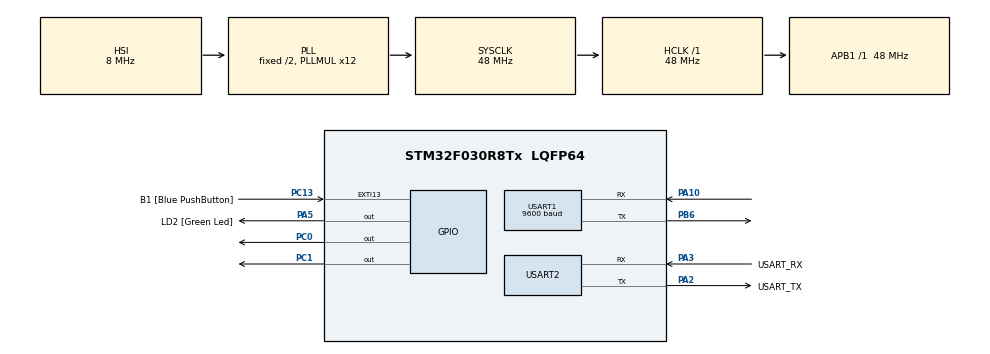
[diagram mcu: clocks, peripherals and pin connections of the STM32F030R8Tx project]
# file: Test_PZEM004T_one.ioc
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Mcu.Family=STM32F0
Mcu.Name=STM32F030R8Tx
Mcu.Package=LQFP64
PA10.GPIO_Speed=GPIO_SPEED_FREQ_LOW
PA10.Mode=Asynchronous
PA10.Signal=USART1_RX
PA13.GPIO_Label=TMS
PA13.Mode=Serial_Wire
PA13.Signal=SYS_SWDIO
PA14.GPIO_Label=TCK
PA14.Mode=Serial_Wire
PA14.Signal=SYS_SWCLK
PA2.GPIO_Label=USART_TX
PA2.GPIO_Mode=GPIO_MODE_AF_PP
PA2.GPIO_PuPd=GPIO_NOPULL
PA2.GPIO_Speed=GPIO_SPEED_FREQ_LOW
PA2.Mode=Asynchronous
PA2.Signal=USART2_TX
PA3.GPIO_Label=USART_RX
PA3.GPIO_Mode=GPIO_MODE_AF_PP
PA3.GPIO_PuPd=GPIO_NOPULL
PA3.GPIO_Speed=GPIO_SPEED_FREQ_LOW
PA3.Mode=Asynchronous
PA3.Signal=USART2_RX
PA5.GPIO_Label=LD2 [Green Led]
PA5.GPIO_Mode=GPIO_MODE_OUTPUT_PP
PA5.GPIO_PuPd=GPIO_NOPULL
PA5.GPIO_Speed=GPIO_SPEED_FREQ_LOW
PA5.Signal=GPIO_Output
PB6.GPIO_FM6=__NULL
PB6.GPIO_Speed=GPIO_SPEED_FREQ_LOW
PB6.Mode=Asynchronous
PB6.Signal=USART1_TX
PC0.GPIO_ModeDefaultOutputPP=GPIO_MODE_OUTPUT_PP
PC0.GPIO_PuPd=GPIO_PULLDOWN
PC0.Signal=GPIO_Output
PC1.GPIO_PuPd=GPIO_PULLDOWN
PC1.Signal=GPIO_Output
PC13.GPIO_Label=B1 [Blue PushButton]
PC13.GPIO_ModeDefaultEXTI=GPIO_MODE_IT_FALLING
PC13.Signal=GPXTI13
PC14-OSC32_IN.Mode=LSE-External-Oscillator
PC14-OSC32_IN.Signal=RCC_OSC32_IN
PC15-OSC32_OUT.Mode=LSE-External-Oscillator
PC15-OSC32_OUT.Signal=RCC_OSC32_OUT
PF0-OSC_IN.Mode=HSE-External-Clock-Source
PF0-OSC_IN.Signal=RCC_OSC_IN
PF1-OSC_OUT.Signal=RCC_OSC_OUT
ProjectManager.HeapSize=0x200
ProjectManager.StackSize=0x400
ProjectManager.TargetToolchain=STM32CubeIDE
RCC.AHBFreq_Value=48000000
RCC.APB1Freq_Value=48000000
RCC.APB1TimFreq_Value=48000000
RCC.HCLKFreq_Value=48000000
RCC.PLLMUL=RCC_PLL_MUL12
RCC.SYSCLKFreq_VALUE=48000000
RCC.SYSCLKSource=RCC_SYSCLKSOURCE_PLLCLK
USART1.BaudRate=9600
USART1.VirtualMode-Asynchronous=VM_ASYNC
USART2.VirtualMode-Asynchronous=VM_ASYNC
board=NUCLEO-F030R8

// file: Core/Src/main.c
/* USER CODE BEGIN Header */
/**
  ******************************************************************************
  * @file           : main.c
  * @brief          : Main program body
  ******************************************************************************
  * @attention
  *
  * Copyright (c) 2022 STMicroelectronics.
  * All rights reserved.
  *
  * This software is licensed under terms that can be found in the LICENSE file
  * in the root directory of this software component.
  * If no LICENSE file comes with this software, it is provided AS-IS.
  *
  ******************************************************************************
  */
/* USER CODE END Header */
#include "main.h"

/* USER CODE BEGIN Includes */
#include <string.h>
#include <stdio.h>
/* USER CODE END Includes */

/* USER CODE BEGIN PD */
#define RESET_CPU 			SCB->AIRCR = 0x05FA0004
#define UART_PZEM 			&huart1
#define UART_MQTT			&huart2
#define GPIO_PORT_MUX_A		GPIOC
#define GPIO_PIN_MUX_A		GPIO_PIN_0
#define GPIO_PORT_MUX_B		GPIOC
#define GPIO_PIN_MUX_B		GPIO_PIN_1
/* USER CODE END PD */

UART_HandleTypeDef huart1;
UART_HandleTypeDef huart2;

/* USER CODE BEGIN PV */
uint8_t str[150]={0};

uint8_t V[4][3] =  {{0}};
uint8_t A[4][3] =  {{0}};
uint8_t W[4][3] =  {{0}};
uint8_t Wh[4][3] = {{0}};

uint8_t buf[7] = {0};

uint8_t sendVoltage[7] = 	{0xB0,0xC0,0xA8,0x01,0x01,0x00,0x1A};	// Read the current voltage
uint8_t sendCurrent[7] = 	{0xB1,0xC0,0xA8,0x01,0x01,0x00,0x1B};	// Read the current current
uint8_t sendPower[7] = 		{0xB2,0xC0,0xA8,0x01,0x01,0x00,0x1C};	// Read the current power
uint8_t sendEnergy[7] = 	{0xB3,0xC0,0xA8,0x01,0x01,0x00,0x1D};	// Read the energy

/* USER CODE END PV */

void SystemClock_Config(void);
static void MX_GPIO_Init(void);
static void MX_USART1_UART_Init(void);
static void MX_USART2_UART_Init(void);

/* USER CODE BEGIN 0 */
void cntUART(uint8_t i);
/* USER CODE END 0 */

int main(void)
{

  /* MCU Configuration--------------------------------------------------------*/

  /* Reset of all peripherals, Initializes the Flash interface and the Systick. */
  HAL_Init();

  /* Configure the system clock */
  SystemClock_Config();

  /* Initialize all configured peripherals */
  MX_GPIO_Init();
  MX_USART1_UART_Init();
  MX_USART2_UART_Init();

  /* Infinite loop */
  /* USER CODE BEGIN WHILE */
  while (1)
  {
	  // Очистка переменных перед опросом
	  memset(V,0, sizeof(V));	memset(A,0, sizeof(A));		memset(W,0, sizeof(W));		memset(Wh,0, sizeof(Wh));
	  // Запрашиваем данные
	  // Напряжение
	  for(uint8_t i = 0; i < 4; i++){
		  HAL_UART_Abort(UART_PZEM);
		  cntUART(i);
		  if(HAL_UART_Transmit(UART_PZEM, (uint8_t *)sendVoltage, 7, 100) == HAL_OK){
			  if(HAL_UART_Receive(UART_PZEM, (uint8_t *)buf, 7, 100) == HAL_OK){
				  if(buf[1]+buf[2] == 160){
					  RESET_CPU; // Если сбился порядок ресет контроллера
				  }else{
					  if(buf[0] == 0xA0){ V[i][0] = buf[1]; V[i][1] = buf[2]; V[i][2] = buf[3]; }
				  }
			  }
		  }
		  memset(buf,0,7);
		  HAL_Delay(100);
	  }
	  HAL_Delay(1000);
	  // Ток
	  for(uint8_t i = 0; i < 4; i++){
		  HAL_UART_Abort(UART_PZEM);
		  cntUART(i);
		  if(HAL_UART_Transmit(UART_PZEM, (uint8_t *)sendCurrent, 7, 100) == HAL_OK){
			  if(HAL_UART_Receive(UART_PZEM, (uint8_t *)buf, 7, 100) == HAL_OK){
				  if(buf[0] == 0xA1){ A[i][0] = buf[2]; A[i][1] = buf[3]; }
			  }
		  }
		  memset(buf,0,7);
		  HAL_Delay(5);
	  }
	  HAL_Delay(1000);
	  // Мощьность
	  for(uint8_t i = 0; i < 4; i++){
		  HAL_UART_Abort(UART_PZEM);
		  cntUART(i);
		  if(HAL_UART_Transmit(UART_PZEM, (uint8_t *)sendPower, 7, 100) == HAL_OK){
			  if(HAL_UART_Receive(UART_PZEM, (uint8_t *)buf, 7, 100) == HAL_OK){
				if(buf[0] == 0xA2){ W[i][0] = buf[1]; W[i][1] = buf[2]; }
			  }
		  }
		  memset(buf,0,7);
		  HAL_Delay(5);
	  }
  	  HAL_Delay(1000);
	  // Потреб. мощьность
	  for(uint8_t i = 0; i < 4; i++){
	  		  HAL_UART_Abort(UART_PZEM);
	  		  cntUART(i);
	  			  if(HAL_UART_Transmit(UART_PZEM, (uint8_t *)sendEnergy, 7, 100) == HAL_OK){
	  				  if(HAL_UART_Receive(UART_PZEM, (uint8_t *)buf, 7, 100) == HAL_OK){
	  					  if(buf[0] == 0xA3){ Wh[i][0] = buf[1]; Wh[i][1] = buf[2]; Wh[i][2] = buf[3]; }
	  				  }
	  			  }
	  		  memset(buf,0,7);
	  		  HAL_Delay(5);
	  	  }

  // Формируем данные в UART
	  sprintf(str, "PZEM-004T value: \r\n"
			  " 1 - %d.%dV / %d.%02dA / %dW / %dWh\r\n"
			  " 2 - %d.%dV / %d.%02dA / %dW / %dWh\r\n"
			  " 3 - %d.%dV / %d.%02dA / %dW / %dWh\r\n"
			  " 4 - %d.%dV / %d.%02dA / %dW / %dWh\r\n\r\n",
			  V[0][0]+V[0][1], V[0][2], A[0][0], A[0][1], W[0][0] + W[0][1], Wh[0][0]+Wh[0][1]+Wh[0][2],
			  V[1][0]+V[1][1], V[1][2], A[1][0], A[1][1], W[1][0] + W[1][1], Wh[1][0]+Wh[1][1]+Wh[1][2],
			  V[2][0]+V[2][1], V[2][2], A[2][0], A[2][1], W[2][0] + W[2][1], Wh[2][0]+Wh[2][1]+Wh[2][2],
			  V[3][0]+V[3][1], V[3][2], A[3][0], A[3][1], W[3][0] + W[3][1], Wh[3][0]+Wh[3][1]+Wh[3][2]); // Формируем данные для отправки в UART

	  HAL_UART_Transmit(UART_MQTT, str, strlen(str), 100); // Отправляем данные в UART
	  HAL_Delay(1500);
    /* USER CODE END WHILE */

  }
}

void SystemClock_Config(void)
{
  RCC_OscInitTypeDef RCC_OscInitStruct = {0};
  RCC_ClkInitTypeDef RCC_ClkInitStruct = {0};
  RCC_PeriphCLKInitTypeDef PeriphClkInit = {0};

  /** Initializes the RCC Oscillators according to the specified parameters
  * in the RCC_OscInitTypeDef structure.
  */
  RCC_OscInitStruct.OscillatorType = RCC_OSCILLATORTYPE_HSI;
  RCC_OscInitStruct.HSIState = RCC_HSI_ON;
  RCC_OscInitStruct.HSICalibrationValue = RCC_HSICALIBRATION_DEFAULT;
  RCC_OscInitStruct.PLL.PLLState = RCC_PLL_ON;
  RCC_OscInitStruct.PLL.PLLSource = RCC_PLLSOURCE_HSI;
  RCC_OscInitStruct.PLL.PLLMUL = RCC_PLL_MUL12;
  RCC_OscInitStruct.PLL.PREDIV = RCC_PREDIV_DIV1;
  if (HAL_RCC_OscConfig(&RCC_OscInitStruct) != HAL_OK)
  {
    Error_Handler();
  }

  /** Initializes the CPU, AHB and APB buses clocks
  */
  RCC_ClkInitStruct.ClockType = RCC_CLOCKTYPE_HCLK|RCC_CLOCKTYPE_SYSCLK
                              |RCC_CLOCKTYPE_PCLK1;
  RCC_ClkInitStruct.SYSCLKSource = RCC_SYSCLKSOURCE_PLLCLK;
  RCC_ClkInitStruct.AHBCLKDivider = RCC_SYSCLK_DIV1;
  RCC_ClkInitStruct.APB1CLKDivider = RCC_HCLK_DIV1;

  if (HAL_RCC_ClockConfig(&RCC_ClkInitStruct, FLASH_LATENCY_1) != HAL_OK)
  {
    Error_Handler();
  }
  PeriphClkInit.PeriphClockSelection = RCC_PERIPHCLK_USART1;
  PeriphClkInit.Usart1ClockSelection = RCC_USART1CLKSOURCE_PCLK1;
  if (HAL_RCCEx_PeriphCLKConfig(&PeriphClkInit) != HAL_OK)
  {
    Error_Handler();
  }
}

static void MX_USART1_UART_Init(void)
{

  huart1.Instance = USART1;
  huart1.Init.BaudRate = 9600;
  huart1.Init.WordLength = UART_WORDLENGTH_8B;
  huart1.Init.StopBits = UART_STOPBITS_1;
  huart1.Init.Parity = UART_PARITY_NONE;
  huart1.Init.Mode = UART_MODE_TX_RX;
  huart1.Init.HwFlowCtl = UART_HWCONTROL_NONE;
  huart1.Init.OverSampling = UART_OVERSAMPLING_16;
  huart1.Init.OneBitSampling = UART_ONE_BIT_SAMPLE_DISABLE;
  huart1.AdvancedInit.AdvFeatureInit = UART_ADVFEATURE_NO_INIT;
  if (HAL_UART_Init(&huart1) != HAL_OK)
  {
    Error_Handler();
  }

}

static void MX_USART2_UART_Init(void)
{

  huart2.Instance = USART2;
  huart2.Init.BaudRate = 38400;
  huart2.Init.WordLength = UART_WORDLENGTH_8B;
  huart2.Init.StopBits = UART_STOPBITS_1;
  huart2.Init.Parity = UART_PARITY_NONE;
  huart2.Init.Mode = UART_MODE_TX_RX;
  huart2.Init.HwFlowCtl = UART_HWCONTROL_NONE;
  huart2.Init.OverSampling = UART_OVERSAMPLING_16;
  huart2.Init.OneBitSampling = UART_ONE_BIT_SAMPLE_DISABLE;
  huart2.AdvancedInit.AdvFeatureInit = UART_ADVFEATURE_NO_INIT;
  if (HAL_UART_Init(&huart2) != HAL_OK)
  {
    Error_Handler();
  }

}

static void MX_GPIO_Init(void)
{
  GPIO_InitTypeDef GPIO_InitStruct = {0};

  /* GPIO Ports Clock Enable */
  __HAL_RCC_GPIOC_CLK_ENABLE();
  __HAL_RCC_GPIOF_CLK_ENABLE();
  __HAL_RCC_GPIOA_CLK_ENABLE();
  __HAL_RCC_GPIOB_CLK_ENABLE();

  /*Configure GPIO pin Output Level */
  HAL_GPIO_WritePin(GPIOC, GPIO_PIN_0|GPIO_PIN_1, GPIO_PIN_RESET);

  /*Configure GPIO pin Output Level */
  HAL_GPIO_WritePin(LD2_GPIO_Port, LD2_Pin, GPIO_PIN_RESET);

  /*Configure GPIO pin : B1_Pin */
  GPIO_InitStruct.Pin = B1_Pin;
  GPIO_InitStruct.Mode = GPIO_MODE_IT_FALLING;
  GPIO_InitStruct.Pull = GPIO_NOPULL;
  HAL_GPIO_Init(B1_GPIO_Port, &GPIO_InitStruct);

  /*Configure GPIO pins : PC0 PC1 */
  GPIO_InitStruct.Pin = GPIO_PIN_0|GPIO_PIN_1;
  GPIO_InitStruct.Mode = GPIO_MODE_OUTPUT_PP;
  GPIO_InitStruct.Pull = GPIO_PULLDOWN;
  GPIO_InitStruct.Speed = GPIO_SPEED_FREQ_LOW;
  HAL_GPIO_Init(GPIOC, &GPIO_InitStruct);

  /*Configure GPIO pin : LD2_Pin */
  GPIO_InitStruct.Pin = LD2_Pin;
  GPIO_InitStruct.Mode = GPIO_MODE_OUTPUT_PP;
  GPIO_InitStruct.Pull = GPIO_NOPULL;
  GPIO_InitStruct.Speed = GPIO_SPEED_FREQ_LOW;
  HAL_GPIO_Init(LD2_GPIO_Port, &GPIO_InitStruct);

}

/* USER CODE BEGIN 4 */
void cntUART(uint8_t i){
	  if(i == 0) { HAL_GPIO_WritePin(GPIO_PORT_MUX_A, GPIO_PIN_MUX_A, 0); HAL_GPIO_WritePin(GPIO_PORT_MUX_B, GPIO_PIN_MUX_B, 0); }
	  if(i == 1) { HAL_GPIO_WritePin(GPIO_PORT_MUX_A, GPIO_PIN_MUX_A, 1); HAL_GPIO_WritePin(GPIO_PORT_MUX_B, GPIO_PIN_MUX_B, 0); }
	  if(i == 2) { HAL_GPIO_WritePin(GPIO_PORT_MUX_A, GPIO_PIN_MUX_A, 0); HAL_GPIO_WritePin(GPIO_PORT_MUX_B, GPIO_PIN_MUX_B, 1); }
	  if(i == 3) { HAL_GPIO_WritePin(GPIO_PORT_MUX_A, GPIO_PIN_MUX_A, 1); HAL_GPIO_WritePin(GPIO_PORT_MUX_B, GPIO_PIN_MUX_B, 1); }
}
/* USER CODE END 4 */

void Error_Handler(void)
{
  __disable_irq();
  while (1)
  {
  }
}
